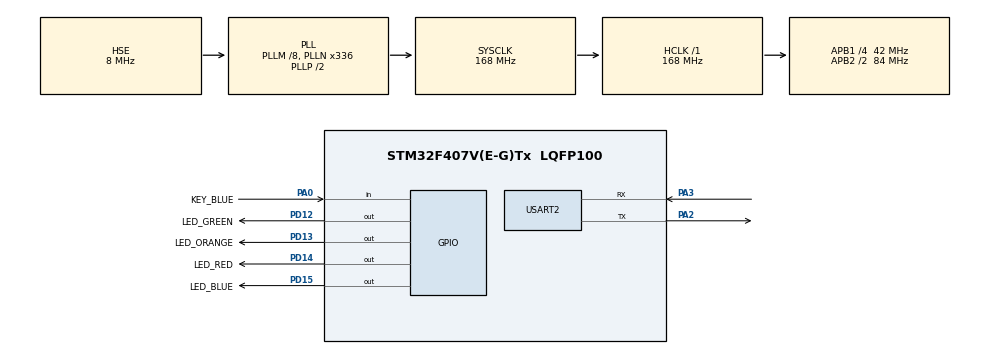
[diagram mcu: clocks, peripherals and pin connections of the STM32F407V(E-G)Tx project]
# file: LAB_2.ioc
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Mcu.Family=STM32F4
Mcu.Name=STM32F407V(E-G)Tx
Mcu.Package=LQFP100
NVIC.PriorityGroup=NVIC_PRIORITYGROUP_4
PA0-WKUP.GPIO_Label=KEY_BLUE
PA0-WKUP.Signal=GPIO_Input
PA13.Mode=Serial_Wire
PA13.Signal=SYS_JTMS-SWDIO
PA14.Mode=Serial_Wire
PA14.Signal=SYS_JTCK-SWCLK
PA2.Mode=Asynchronous
PA2.Signal=USART2_TX
PA3.Mode=Asynchronous
PA3.Signal=USART2_RX
PD12.GPIO_Label=LED_GREEN
PD12.Signal=GPIO_Output
PD13.GPIO_Label=LED_ORANGE
PD13.Signal=GPIO_Output
PD14.GPIO_Label=LED_RED
PD14.Signal=GPIO_Output
PD15.GPIO_Label=LED_BLUE
PD15.Signal=GPIO_Output
PH0-OSC_IN.Mode=HSE-External-Oscillator
PH0-OSC_IN.Signal=RCC_OSC_IN
PH1-OSC_OUT.Mode=HSE-External-Oscillator
PH1-OSC_OUT.Signal=RCC_OSC_OUT
ProjectManager.HeapSize=0x200
ProjectManager.StackSize=0x400
ProjectManager.TargetToolchain=MDK-ARM V5.32
RCC.48MHZClocksFreq_Value=84000000
RCC.AHBFreq_Value=168000000
RCC.APB1CLKDivider=RCC_HCLK_DIV4
RCC.APB1Freq_Value=42000000
RCC.APB1TimFreq_Value=84000000
RCC.APB2CLKDivider=RCC_HCLK_DIV2
RCC.APB2Freq_Value=84000000
RCC.APB2TimFreq_Value=168000000
RCC.CortexFreq_Value=168000000
RCC.HCLKFreq_Value=168000000
RCC.HSE_VALUE=8000000
RCC.HSI_VALUE=16000000
RCC.LSE_VALUE=32768
RCC.PLLM=8
RCC.PLLN=336
RCC.PLLSourceVirtual=RCC_PLLSOURCE_HSE
RCC.SYSCLKFreq_VALUE=168000000
RCC.SYSCLKSource=RCC_SYSCLKSOURCE_PLLCLK
RCC.VCOOutputFreq_Value=336000000
USART2.VirtualMode=VM_ASYNC
board=custom

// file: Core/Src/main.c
/* USER CODE BEGIN Header */
/**
  ******************************************************************************
  * @file           : main.c
  * @brief          : Main program body
  ******************************************************************************
  * @attention
  *
  * <h2><center>&copy; Copyright (c) 2022 STMicroelectronics.
  * All rights reserved.</center></h2>
  *
  * This software component is licensed by ST under BSD 3-Clause license,
  * the "License"; You may not use this file except in compliance with the
  * License. You may obtain a copy of the License at:
  *                        opensource.org/licenses/BSD-3-Clause
  *
  ******************************************************************************
  */
/* USER CODE END Header */
#include "main.h"

UART_HandleTypeDef huart2;

void SystemClock_Config(void);
static void MX_GPIO_Init(void);
static void MX_USART2_UART_Init(void);

/* USER CODE BEGIN 0 */
	//#define SIMULATOR
	uint8_t tick1200mc;
	uint8_t tick300mc;
	uint8_t tick100mc;
	uint8_t counter;
	volatile uint32_t ledODR __attribute__((at(GPIOD_BASE + 0X14)));

	uint32_t USART2_SendChar(uint32_t ch)
	{
			while(!(USART2->SR & UART_FLAG_TXE));
			USART2->DR=ch&0xFF;
			return ch;
	}

	void USORT2_Send_String(char* str)
	{
    int i = 0;
    while(str[i])
        USART2_SendChar(str[i++]);
	}

	int32_t USART2_ReceiveChar(void)
	{

		if((USART2->SR & UART_FLAG_RXNE))
		{
			return USART2->DR;
		}
		else
		{
			return 0x100;
		}
	}

/* USER CODE END 0 */

int main(void)
{

  /* MCU Configuration--------------------------------------------------------*/

  /* Reset of all peripherals, Initializes the Flash interface and the Systick. */
  HAL_Init();

  /* Configure the system clock */
  SystemClock_Config();

  /* Initialize all configured peripherals */
  MX_GPIO_Init();
  MX_USART2_UART_Init();

  /* Infinite loop */
  /* USER CODE BEGIN WHILE */
	uint16_t button;
	uint8_t flag =1;
	uint8_t my_switch =1;
	uint32_t ch;
  while (1)
  {
			if(tick1200mc ==1)
			{
				ch = USART2_ReceiveChar();
				if(ch != 0x100)
				{
					USART2_SendChar(ch);
				}
				tick1200mc =0;
			}

//		button = KEY_BLUE_GPIO_Port->IDR;
//		button &= KEY_BLUE_Pin;
//
//		if(tick1200mc)
//		{
//			if(button == 0)
//			{
//				if(tick300mc == 1 && my_switch ==1)
//				{
//					LED_GREEN_GPIO_Port->ODR ^= LED_GREEN_Pin;
//					my_switch++;
//					tick300mc =0;
//				}
//				if(tick300mc == 1 && my_switch ==2)
//				{
//					LED_ORANGE_GPIO_Port->ODR ^= LED_ORANGE_Pin;
//					my_switch++;
//					tick300mc =0;
//				}
//				if(tick300mc == 1 && my_switch ==3)
//				{
//					LED_RED_GPIO_Port->ODR ^= LED_RED_Pin;
//					my_switch++;
//					tick300mc =0;
//				}
//				if(tick300mc == 1 && my_switch ==4)
//				{
//					LED_BLUE_GPIO_Port->ODR ^= LED_BLUE_Pin;
//					my_switch =1;
//					tick300mc =0;
//				}
//			}
//			else
//			{
//				if(tick300mc == 1 && my_switch ==1)
//				{
//					LED_BLUE_GPIO_Port->ODR ^= LED_BLUE_Pin;
//					my_switch++;
//					tick300mc =0;
//				}
//				if(tick300mc == 1 && my_switch ==2)
//				{
//					LED_RED_GPIO_Port->ODR ^= LED_RED_Pin;
//					my_switch++;
//					tick300mc =0;
//				}
//				if(tick300mc == 1 && my_switch ==3)
//				{
//					LED_ORANGE_GPIO_Port->ODR ^= LED_ORANGE_Pin;
//					my_switch++;
//					tick300mc =0;
//				}
//				if(tick300mc == 1 && my_switch ==4)
//				{
//					LED_GREEN_GPIO_Port->ODR ^= LED_GREEN_Pin;
//					my_switch =1;
//					tick300mc =0;
//				}
//			}
//			tick300mc =0;
//			tick1200mc =0;
//		}

    /* USER CODE END WHILE */

  }
}

void SystemClock_Config(void)
{
  RCC_OscInitTypeDef RCC_OscInitStruct = {0};
  RCC_ClkInitTypeDef RCC_ClkInitStruct = {0};

  /** Configure the main internal regulator output voltage
  */
  __HAL_RCC_PWR_CLK_ENABLE();
  __HAL_PWR_VOLTAGESCALING_CONFIG(PWR_REGULATOR_VOLTAGE_SCALE1);
  /** Initializes the RCC Oscillators according to the specified parameters
  * in the RCC_OscInitTypeDef structure.
  */
  RCC_OscInitStruct.OscillatorType = RCC_OSCILLATORTYPE_HSE;
  RCC_OscInitStruct.HSEState = RCC_HSE_ON;
  RCC_OscInitStruct.PLL.PLLState = RCC_PLL_ON;
  RCC_OscInitStruct.PLL.PLLSource = RCC_PLLSOURCE_HSE;
  RCC_OscInitStruct.PLL.PLLM = 8;
  RCC_OscInitStruct.PLL.PLLN = 336;
  RCC_OscInitStruct.PLL.PLLP = RCC_PLLP_DIV2;
  RCC_OscInitStruct.PLL.PLLQ = 4;
  if (HAL_RCC_OscConfig(&RCC_OscInitStruct) != HAL_OK)
  {
    Error_Handler();
  }
  /** Initializes the CPU, AHB and APB buses clocks
  */
  RCC_ClkInitStruct.ClockType = RCC_CLOCKTYPE_HCLK|RCC_CLOCKTYPE_SYSCLK
                              |RCC_CLOCKTYPE_PCLK1|RCC_CLOCKTYPE_PCLK2;
  RCC_ClkInitStruct.SYSCLKSource = RCC_SYSCLKSOURCE_PLLCLK;
  RCC_ClkInitStruct.AHBCLKDivider = RCC_SYSCLK_DIV1;
  RCC_ClkInitStruct.APB1CLKDivider = RCC_HCLK_DIV4;
  RCC_ClkInitStruct.APB2CLKDivider = RCC_HCLK_DIV2;

  if (HAL_RCC_ClockConfig(&RCC_ClkInitStruct, FLASH_LATENCY_5) != HAL_OK)
  {
    Error_Handler();
  }
}

static void MX_USART2_UART_Init(void)
{

  huart2.Instance = USART2;
  huart2.Init.BaudRate = 115200;
  huart2.Init.WordLength = UART_WORDLENGTH_8B;
  huart2.Init.StopBits = UART_STOPBITS_1;
  huart2.Init.Parity = UART_PARITY_NONE;
  huart2.Init.Mode = UART_MODE_TX_RX;
  huart2.Init.HwFlowCtl = UART_HWCONTROL_NONE;
  huart2.Init.OverSampling = UART_OVERSAMPLING_16;
  if (HAL_UART_Init(&huart2) != HAL_OK)
  {
    Error_Handler();
  }

}

static void MX_GPIO_Init(void)
{
  GPIO_InitTypeDef GPIO_InitStruct = {0};

  /* GPIO Ports Clock Enable */
  __HAL_RCC_GPIOH_CLK_ENABLE();
  __HAL_RCC_GPIOA_CLK_ENABLE();
  __HAL_RCC_GPIOD_CLK_ENABLE();

  /*Configure GPIO pin Output Level */
  HAL_GPIO_WritePin(GPIOD, LED_GREEN_Pin|LED_ORANGE_Pin|LED_RED_Pin|LED_BLUE_Pin, GPIO_PIN_RESET);

  /*Configure GPIO pin : KEY_BLUE_Pin */
  GPIO_InitStruct.Pin = KEY_BLUE_Pin;
  GPIO_InitStruct.Mode = GPIO_MODE_INPUT;
  GPIO_InitStruct.Pull = GPIO_NOPULL;
  HAL_GPIO_Init(KEY_BLUE_GPIO_Port, &GPIO_InitStruct);

  /*Configure GPIO pins : LED_GREEN_Pin LED_ORANGE_Pin LED_RED_Pin LED_BLUE_Pin */
  GPIO_InitStruct.Pin = LED_GREEN_Pin|LED_ORANGE_Pin|LED_RED_Pin|LED_BLUE_Pin;
  GPIO_InitStruct.Mode = GPIO_MODE_OUTPUT_PP;
  GPIO_InitStruct.Pull = GPIO_NOPULL;
  GPIO_InitStruct.Speed = GPIO_SPEED_FREQ_LOW;
  HAL_GPIO_Init(GPIOD, &GPIO_InitStruct);

}

void Error_Handler(void)
{
  /* USER CODE BEGIN Error_Handler_Debug */
  /* User can add his own implementation to report the HAL error return state */
	#ifndef SIMULATOR
  __disable_irq();
  while (1)
  {
  }
	#endif
  /* USER CODE END Error_Handler_Debug */
}

/************************ (C) COPYRIGHT STMicroelectronics *****END OF FILE****/
